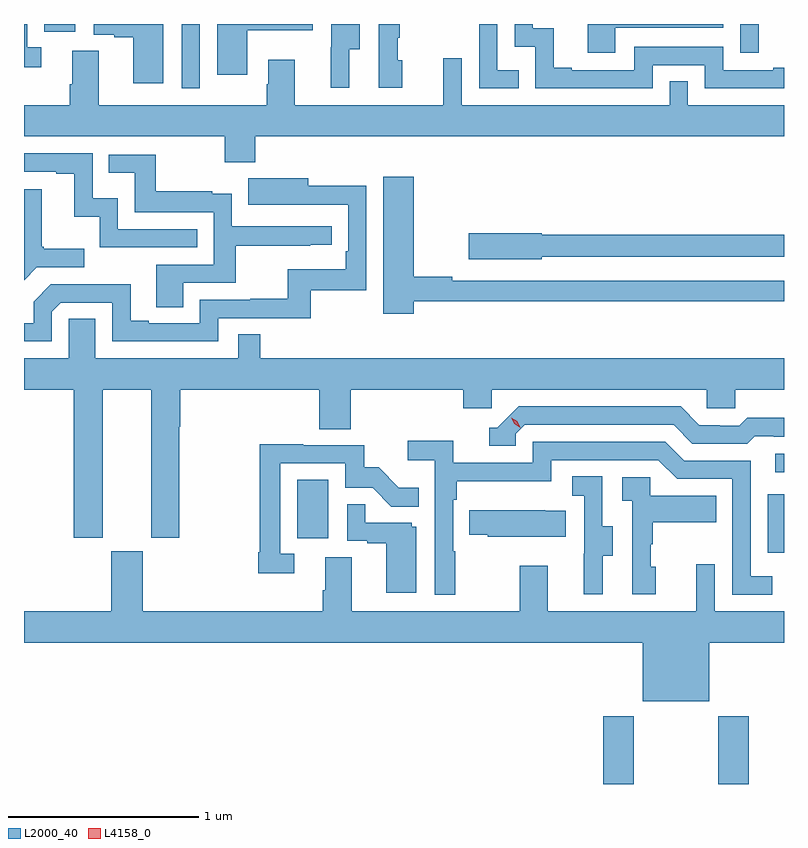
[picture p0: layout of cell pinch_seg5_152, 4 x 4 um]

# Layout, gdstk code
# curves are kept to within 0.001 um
import gdstk
lib = gdstk.Library(unit=1e-6, precision=1e-09)
def R(c, l, rs):  # rectangles x0, y0, x1, y1
    for r in rs: c.add(gdstk.rectangle(r[:2], r[2:], *l))
def P(c, l, *ps):  # polygons
    for p in ps: c.add(gdstk.Polygon(p, *l))
L2000_40 = (2000, 40)
L4158_0 = (4158, 0)

pinch_seg5_152 = lib.new_cell('pinch_seg5_152')
R(pinch_seg5_152, L2000_40, [(1091.561,879.992,1091.721,880.348), (1092.166,879.992,1092.326,880.348), (1092.426,881.208,1092.512,881.518), (1089.95,881.286,1090.114,881.593), (1092.465,881.634,1092.512,881.73), (1089.342,883.653,1089.438,883.992), (1092.282,883.842,1092.379,883.992), (1088.618,883.95,1088.782,883.992)])
P(pinch_seg5_152, L2000_40, [(1091.82,883.776),(1092.096,883.776),(1092.096,883.653),(1092.512,883.653),(1092.512,883.762),(1092.455,883.762),(1092.455,883.749),(1092.192,883.749),(1092.192,883.872),(1091.724,883.872),(1091.724,883.749),(1091.395,883.749),(1091.395,883.762),(1091.3,883.762),(1091.3,883.97),(1091.19,883.97),(1091.19,883.992),(1091.094,883.992),(1091.094,883.872),(1091.202,883.872),(1091.202,883.653),(1091.82,883.653)],
  [(1091.117,883.749),(1091.004,883.749),(1091.004,883.992),(1090.908,883.992),(1090.908,883.653),(1091.117,883.653)],
  [(1089.688,883.958),(1090.031,883.958),(1090.031,883.992),(1089.53,883.992),(1089.53,883.725),(1089.688,883.725)],
  [(1089.244,883.992),(1088.88,883.992),(1088.88,883.935),(1088.987,883.935),(1088.987,883.923),(1089.086,883.923),(1089.086,883.68),(1089.244,883.68)],
  [(1088.602,883.869),(1088.529,883.869),(1088.529,883.992),(1088.512,883.992),(1088.512,883.764),(1088.602,883.764)],
  [(1090.504,883.8),(1090.479,883.8),(1090.479,883.919),(1090.489,883.919),(1090.489,883.992),(1090.38,883.992),(1090.38,883.656),(1090.504,883.656)],
  [(1091.623,883.971),(1092.192,883.971),(1092.192,883.992),(1091.479,883.992),(1091.479,883.842),(1091.623,883.842)],
  [(1090.225,883.858),(1090.279,883.858),(1090.279,883.992),(1090.128,883.992),(1090.128,883.869),(1090.127,883.869),(1090.127,883.656),(1090.225,883.656)],
  [(1089.728,883.4),(1092.512,883.4),(1092.512,883.564),(1092.006,883.564),(1092.006,883.691),(1091.91,883.691),(1091.91,883.564),(1090.815,883.564),(1090.815,883.813),(1090.718,883.813),(1090.718,883.564),(1089.937,883.564),(1089.937,883.804),(1089.797,883.804),(1089.797,883.676),(1089.79,883.676),(1089.79,883.564),(1088.905,883.564),(1088.905,883.85),(1088.765,883.85),(1088.765,883.676),(1088.753,883.676),(1088.753,883.564),(1088.512,883.564),(1088.512,883.4),(1089.568,883.4),(1089.568,883.265),(1089.728,883.265)],
  [(1089.425,882.912),(1089.006,882.912),(1089.006,883.075),(1088.874,883.075),(1088.874,883.311),(1088.512,883.311),(1088.512,883.215),(1088.681,883.215),(1088.681,883.203),(1088.777,883.203),(1088.777,882.977),(1088.91,882.977),(1088.91,882.816),(1089.425,882.816)],
  [(1089.349,882.63),(1089.626,882.63),(1089.626,882.826),(1090.019,882.826),(1090.019,882.831),(1090.132,882.831),(1090.132,882.927),(1089.606,882.927),(1089.606,883.099),(1089.503,883.099),(1089.503,883.111),(1089.205,883.111),(1089.205,883.305),(1088.959,883.305),(1088.959,883.208),(1089.094,883.208),(1089.094,883.002),(1089.51,883.002),(1089.51,882.726),(1089.209,882.726),(1089.209,882.502),(1089.349,882.502)],
  [(1090.564,882.534),(1092.512,882.534),(1092.512,882.642),(1090.766,882.642),(1090.766,882.662),(1090.564,882.662),(1090.564,883.189),(1090.403,883.189),(1090.403,882.468),(1090.564,882.468)],
  [(1088.658,882.477),(1088.706,882.525),(1088.976,882.525),(1088.976,882.321),(1089.534,882.321),(1089.534,882.444),(1090.021,882.444),(1090.021,882.591),(1090.314,882.591),(1090.314,883.142),(1090.009,883.142),(1090.009,883.18),(1089.691,883.18),(1089.691,883.04),(1090.218,883.041),(1090.218,882.796),(1090.205,882.796),(1090.205,882.7),(1089.9,882.7),(1089.9,882.545),(1089.703,882.545),(1089.703,882.54),(1089.438,882.54),(1089.438,882.417),(1089.169,882.417),(1089.169,882.43),(1089.073,882.43),(1089.073,882.623),(1088.868,882.623),(1088.868,882.621),(1088.652,882.621),(1088.562,882.531),(1088.562,882.417),(1088.512,882.417),(1088.512,882.321),(1088.658,882.321)],
  [(1088.58,882.711),(1088.83,882.711),(1088.83,882.808),(1088.617,882.808),(1088.617,882.82),(1088.605,882.82),(1088.605,883.123),(1088.512,883.123),(1088.512,882.643)],
  [(1091.238,882.768),(1092.512,882.768),(1092.512,882.884),(1091.238,882.884),(1091.238,882.89),(1090.854,882.89),(1090.854,882.755),(1091.238,882.755)],
  [(1088.926,882.068),(1089.182,882.068),(1089.182,881.289),(1089.33,881.289),(1089.33,881.872),(1089.335,881.872),(1089.335,882.068),(1090.067,882.068),(1090.067,881.86),(1090.232,881.86),(1090.232,882.068),(1090.823,882.068),(1090.823,881.97),(1090.974,881.97),(1090.974,882.068),(1092.105,882.068),(1092.105,881.97),(1092.255,881.97),(1092.255,882.068),(1092.512,882.068),(1092.512,882.232),(1089.755,882.232),(1089.755,882.359),(1089.639,882.359),(1089.639,882.232),(1088.887,882.232),(1088.887,882.44),(1088.748,882.44),(1088.748,882.232),(1088.512,882.232),(1088.512,882.068),(1088.774,882.068),(1088.774,881.289),(1088.926,881.289)],
  [(1091.1,881.835),(1091.148,881.883),(1091.931,881.883),(1092.03,881.784),(1092.319,881.784),(1092.358,881.823),(1092.457,881.823),(1092.457,881.82),(1092.512,881.82),(1092.512,881.92),(1092.319,881.92),(1092.277,881.877),(1092.174,881.877),(1092.174,881.88),(1092.067,881.88),(1091.968,881.979),(1091.115,881.979),(1091.004,881.868),(1090.961,881.868),(1090.961,881.772),(1091.1,881.772)],
  [(1090.783,881.216),(1090.77,881.216),(1090.77,881.489),(1090.79,881.489),(1090.79,881.585),(1091.286,881.585),(1091.286,881.697),(1091.85,881.697),(1091.949,881.598),(1092.24,881.598),(1092.24,880.989),(1092.449,880.989),(1092.449,881.085),(1092.336,881.085),(1092.336,881.694),(1091.986,881.694),(1091.887,881.793),(1091.19,881.793),(1091.19,881.682),(1090.772,881.682),(1090.772,881.798),(1090.533,881.798),(1090.533,881.696),(1090.674,881.696),(1090.674,880.989),(1090.783,880.989)],
  [(1089.934,881.205),(1089.861,881.205),(1089.861,881.679),(1090.203,881.679),(1090.203,881.55),(1090.347,881.55),(1090.445,881.452),(1090.589,881.452),(1090.589,881.551),(1090.485,881.551),(1090.378,881.658),(1090.302,881.658),(1090.302,881.775),(1089.983,881.775),(1089.983,881.78),(1089.753,881.78),(1089.753,881.212),(1089.745,881.212),(1089.745,881.1),(1089.934,881.1)],
  [(1091.557,881.194),(1091.611,881.194),(1091.611,881.349),(1091.556,881.349),(1091.556,881.612),(1091.397,881.612),(1091.397,881.509),(1091.46,881.509),(1091.46,881.205),(1091.459,881.205),(1091.459,880.992),(1091.557,880.992)],
  [(1091.836,881.136),(1091.811,881.136),(1091.811,881.255),(1091.821,881.255),(1091.821,881.369),(1092.155,881.369),(1092.155,881.509),(1091.808,881.509),(1091.808,881.607),(1091.661,881.607),(1091.661,881.483),(1091.712,881.483),(1091.712,880.992),(1091.836,880.992)],
  [(1090.576,881.346),(1090.554,881.346),(1090.554,881.367),(1090.307,881.367),(1090.307,881.465),(1090.212,881.465),(1090.212,881.271),(1090.319,881.271),(1090.319,881.259),(1090.418,881.259),(1090.418,880.998),(1090.576,880.998)],
  [(1091.363,881.431),(1091.255,881.431),(1091.255,881.434),(1090.855,881.434),(1090.855,881.305),(1090.953,881.305),(1090.953,881.294),(1091.363,881.294)],
  [(1088.972,881.217),(1088.972,880.9),(1088.512,880.9),(1088.512,880.736),(1091.768,880.736),(1091.768,880.427),(1092.118,880.427),(1092.118,880.736),(1092.512,880.736),(1092.512,880.9),(1092.147,880.9),(1092.147,881.149),(1092.05,881.149),(1092.05,880.9),(1091.269,880.9),(1091.269,881.14),(1091.122,881.14),(1091.122,880.9),(1090.237,880.9),(1090.237,881.186),(1090.097,881.186),(1090.097,881.012),(1090.085,881.012),(1090.085,880.9),(1089.136,880.9),(1089.136,881.217)])
P(pinch_seg5_152, L4158_0, [(1091.123,881.868),(1091.092,881.888),(1091.076,881.92),(1091.076,881.92),(1091.076,881.92),(1091.107,881.901),(1091.124,881.869),(1091.124,881.868)])

lib.write_gds('pinch_seg5_152.gds')
